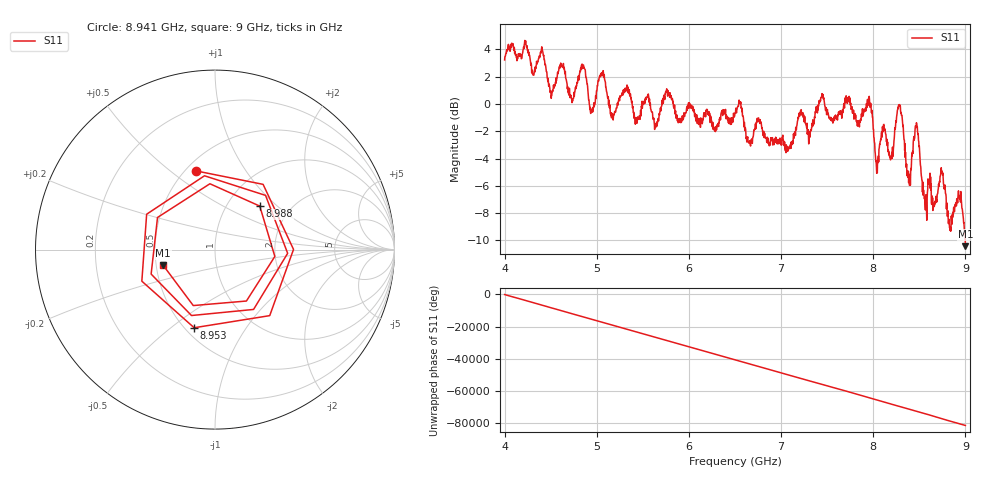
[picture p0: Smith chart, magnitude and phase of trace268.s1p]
! Created with skrf 1.8.0 (http://scikit-rf.org).
# Hz S RI R 50.0
!freq ReS11 ImS11
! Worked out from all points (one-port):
!   1601 points, 4 GHz to 9 GHz, reference 50 ohm
!   lowest |S11| = -10.4 dB at 9 GHz (marker M1), VSWR 1.86, Z = 27.3 - j5.28 ohm
!   |S11| at or under -10 dB: 8.998619 GHz to end of sweep
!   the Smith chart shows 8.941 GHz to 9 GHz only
!   S11 on the Smith chart (normalised r, x): 8.941 GHz: 0.57, +0.62; 8.953 GHz: 0.56, -0.61; 8.988 GHz: 1.41, +0.78; 9 GHz: 0.55, -0.11
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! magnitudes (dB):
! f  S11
! 4 GHz  3.2
! 4.403 GHz  4.2
! 4.512 GHz  0.6
! 4.625 GHz  2.7
! 4.731 GHz  0.1
! 4.853 GHz  2.9
! 4.944 GHz  -0.5
! 5.05 GHz  2.2
! 5.162 GHz  -1.0
! 5.25 GHz  0.6
! 5.875 GHz  -1.2
! 6.5 GHz  -0.6
! 7.125 GHz  -2.7
! 7.75 GHz  -0.1
! 7.962 GHz  -0.2
! 8.044 GHz  -5.0
! 8.112 GHz  -1.5
! 8.197 GHz  -3.8
! 8.288 GHz  -0.1
! 8.375 GHz  -5.4
! 8.466 GHz  -1.7
! 8.559 GHz  -6.9
! 8.741 GHz  -5.0
! 8.838 GHz  -9.0
! 8.941 GHz  -6.9
! 8.953 GHz  -6.9
! 8.988 GHz  -9.2
! 9 GHz  -10.4
